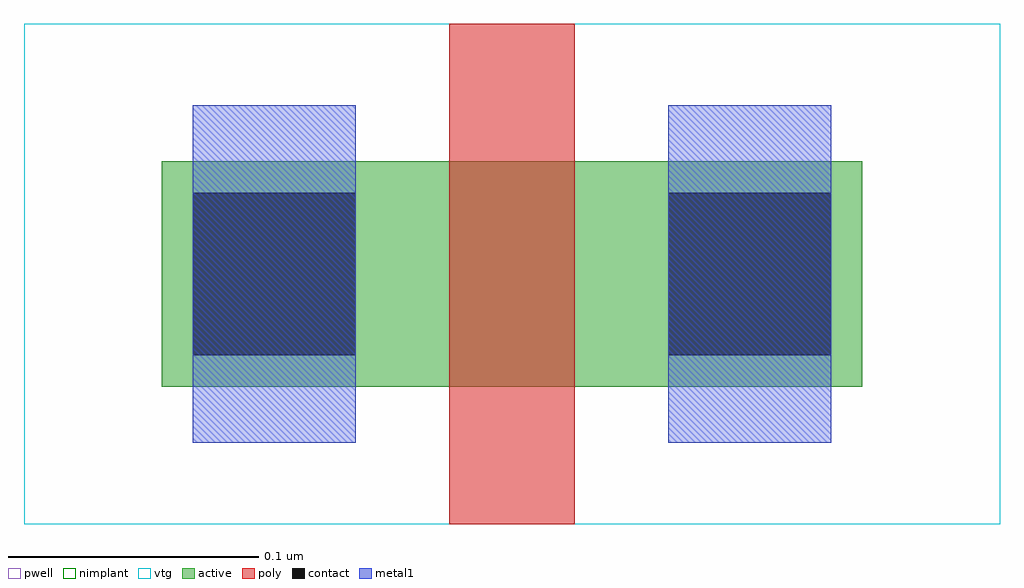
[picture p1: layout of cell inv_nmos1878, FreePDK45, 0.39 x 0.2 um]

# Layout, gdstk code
import gdstk
lib = gdstk.Library(unit=1e-6, precision=5e-10)
def R(c, l, rs):  # rectangles x0, y0, x1, y1
    for r in rs: c.add(gdstk.rectangle(r[:2], r[2:], *l))
active = (1, 0)
pwell = (2, 0)
nimplant = (4, 0)
vtg = (6, 0)
poly = (9, 0)
contact = (10, 0)
metal1 = (11, 0)

contact_1x1_num12653 = lib.new_cell('contact_1x1_num12653')
R(contact_1x1_num12653, active, [(0,0.0225,0.09,0.1125)])
R(contact_1x1_num12653, contact, [(0.0125,0.035,0.0775,0.1)])
R(contact_1x1_num12653, metal1, [(0.0125,0,0.0775,0.135)])

contact_1x1_num12654 = lib.new_cell('contact_1x1_num12654')
R(contact_1x1_num12654, active, [(0,0.0225,0.09,0.1125)])
R(contact_1x1_num12654, contact, [(0.0125,0.035,0.0775,0.1)])
R(contact_1x1_num12654, metal1, [(0.0125,0,0.0775,0.135)])

inv_nmos1878 = lib.new_cell('inv_nmos1878')
R(inv_nmos1878, active, [(0.055,0.055,0.335,0.145)])
R(inv_nmos1878, pwell, [(0,0,0.39,0.2)])
R(inv_nmos1878, nimplant, [(0.055,0.055,0.335,0.145)])
R(inv_nmos1878, vtg, [(0,0,0.39,0.2)])
R(inv_nmos1878, poly, [(0.17,0,0.22,0.2)])
inv_nmos1878.add(gdstk.Reference(contact_1x1_num12653, (0.055,0.0325)))
inv_nmos1878.add(gdstk.Reference(contact_1x1_num12654, (0.245,0.0325)))

lib.write_gds('inv_nmos1878.gds')
